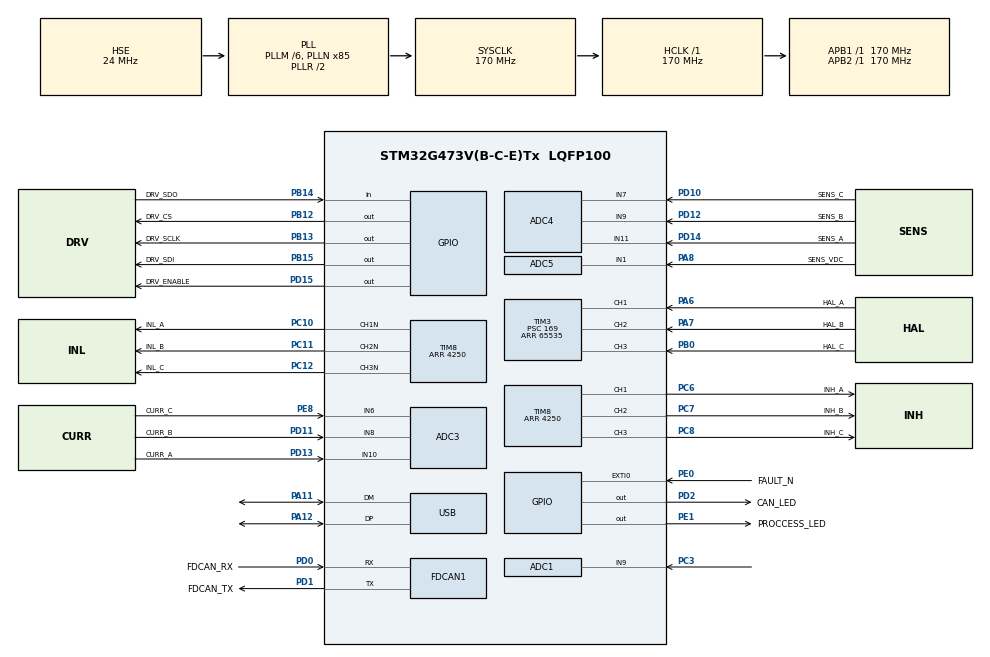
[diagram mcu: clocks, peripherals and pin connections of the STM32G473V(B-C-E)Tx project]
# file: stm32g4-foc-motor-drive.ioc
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ADC1.Channel-0\#ChannelRegularConversion=ADC_CHANNEL_9
ADC1.NbrOfConversionFlag=1
ADC1.OffsetNumber-0\#ChannelRegularConversion=ADC_OFFSET_NONE
ADC1.Rank-0\#ChannelRegularConversion=1
ADC1.SamplingTime-0\#ChannelRegularConversion=ADC_SAMPLETIME_47CYCLES_5
ADC1.master=1
ADC3.Channel-6\#ChannelRegularConversion=ADC_CHANNEL_10
ADC3.Channel-7\#ChannelRegularConversion=ADC_CHANNEL_8
ADC3.Channel-8\#ChannelRegularConversion=ADC_CHANNEL_6
ADC3.EOCSelection=ADC_EOC_SEQ_CONV
ADC3.EnableInjectedConversion=ENABLE
ADC3.EnableInjectedOversampling=DISABLE
ADC3.EnableRegularConversion=ENABLE
ADC3.ExternalTrigInjecConv=ADC_EXTERNALTRIGINJEC_T8_TRGO2
ADC3.InjNumberOfConversion=3
ADC3.InjectedChannel-3\#ChannelInjectedConversion=ADC_CHANNEL_10
ADC3.InjectedChannel-4\#ChannelInjectedConversion=ADC_CHANNEL_8
ADC3.InjectedChannel-5\#ChannelInjectedConversion=ADC_CHANNEL_6
ADC3.InjectedOffsetNumber-3\#ChannelInjectedConversion=ADC_OFFSET_NONE
ADC3.InjectedOffsetNumber-4\#ChannelInjectedConversion=ADC_OFFSET_NONE
ADC3.InjectedOffsetNumber-5\#ChannelInjectedConversion=ADC_OFFSET_NONE
ADC3.InjectedRank-3\#ChannelInjectedConversion=1
ADC3.InjectedRank-4\#ChannelInjectedConversion=2
ADC3.InjectedRank-5\#ChannelInjectedConversion=3
ADC3.InjectedSamplingTime-3\#ChannelInjectedConversion=ADC_SAMPLETIME_12CYCLES_5
ADC3.InjectedSamplingTime-4\#ChannelInjectedConversion=ADC_SAMPLETIME_12CYCLES_5
ADC3.InjectedSamplingTime-5\#ChannelInjectedConversion=ADC_SAMPLETIME_12CYCLES_5
ADC3.NbrOfConversion=3
ADC3.NbrOfConversionFlag=1
ADC3.OffsetNumber-6\#ChannelRegularConversion=ADC_OFFSET_NONE
ADC3.OffsetNumber-7\#ChannelRegularConversion=ADC_OFFSET_NONE
ADC3.OffsetNumber-8\#ChannelRegularConversion=ADC_OFFSET_NONE
ADC3.OversamplingMode=DISABLE
ADC3.Rank-6\#ChannelRegularConversion=1
ADC3.Rank-7\#ChannelRegularConversion=2
ADC3.Rank-8\#ChannelRegularConversion=3
ADC3.SamplingTime-6\#ChannelRegularConversion=ADC_SAMPLETIME_12CYCLES_5
ADC3.SamplingTime-7\#ChannelRegularConversion=ADC_SAMPLETIME_12CYCLES_5
ADC3.SamplingTime-8\#ChannelRegularConversion=ADC_SAMPLETIME_12CYCLES_5
ADC3.master=1
ADC4.Channel-1\#ChannelRegularConversion=ADC_CHANNEL_11
ADC4.Channel-2\#ChannelRegularConversion=ADC_CHANNEL_9
ADC4.Channel-3\#ChannelRegularConversion=ADC_CHANNEL_7
ADC4.ContinuousConvMode=ENABLE
ADC4.DMAContinuousRequests=ENABLE
ADC4.EOCSelection=ADC_EOC_SEQ_CONV
ADC4.ExternalTrigConv=ADC_EXTERNALTRIG_T8_TRGO2
ADC4.NbrOfConversion=3
ADC4.NbrOfConversionFlag=1
ADC4.OffsetNumber-1\#ChannelRegularConversion=ADC_OFFSET_NONE
ADC4.OffsetNumber-2\#ChannelRegularConversion=ADC_OFFSET_NONE
ADC4.OffsetNumber-3\#ChannelRegularConversion=ADC_OFFSET_NONE
ADC4.Rank-1\#ChannelRegularConversion=1
ADC4.Rank-2\#ChannelRegularConversion=2
ADC4.Rank-3\#ChannelRegularConversion=3
ADC4.SamplingTime-1\#ChannelRegularConversion=ADC_SAMPLETIME_24CYCLES_5
ADC4.SamplingTime-2\#ChannelRegularConversion=ADC_SAMPLETIME_24CYCLES_5
ADC4.SamplingTime-3\#ChannelRegularConversion=ADC_SAMPLETIME_24CYCLES_5
ADC5.Channel-0\#ChannelRegularConversion=ADC_CHANNEL_1
ADC5.Channel-1\#ChannelRegularConversion=ADC_CHANNEL_VREFINT
ADC5.ContinuousConvMode=ENABLE
ADC5.DMAContinuousRequests=ENABLE
ADC5.NbrOfConversion=2
ADC5.NbrOfConversionFlag=1
ADC5.OffsetNumber-0\#ChannelRegularConversion=ADC_OFFSET_NONE
ADC5.OffsetNumber-1\#ChannelRegularConversion=ADC_OFFSET_NONE
ADC5.Rank-0\#ChannelRegularConversion=1
ADC5.Rank-1\#ChannelRegularConversion=2
ADC5.SamplingTime-0\#ChannelRegularConversion=ADC_SAMPLETIME_247CYCLES_5
ADC5.SamplingTime-1\#ChannelRegularConversion=ADC_SAMPLETIME_247CYCLES_5
Dma.ADC3.2.Direction=DMA_PERIPH_TO_MEMORY
Dma.ADC3.2.EventEnable=DISABLE
Dma.ADC3.2.Instance=DMA1_Channel3
Dma.ADC3.2.MemDataAlignment=DMA_MDATAALIGN_HALFWORD
Dma.ADC3.2.MemInc=DMA_MINC_ENABLE
Dma.ADC3.2.Mode=DMA_CIRCULAR
Dma.ADC3.2.PeriphDataAlignment=DMA_PDATAALIGN_HALFWORD
Dma.ADC3.2.PeriphInc=DMA_PINC_DISABLE
Dma.ADC3.2.Polarity=HAL_DMAMUX_REQ_GEN_RISING
Dma.ADC3.2.Priority=DMA_PRIORITY_LOW
Dma.ADC3.2.RequestNumber=1
Dma.ADC3.2.SignalID=NONE
Dma.ADC3.2.SyncEnable=DISABLE
Dma.ADC3.2.SyncPolarity=HAL_DMAMUX_SYNC_NO_EVENT
Dma.ADC3.2.SyncRequestNumber=1
Dma.ADC3.2.SyncSignalID=NONE
Dma.ADC4.0.Direction=DMA_PERIPH_TO_MEMORY
Dma.ADC4.0.EventEnable=DISABLE
Dma.ADC4.0.Instance=DMA1_Channel1
Dma.ADC4.0.MemDataAlignment=DMA_MDATAALIGN_HALFWORD
Dma.ADC4.0.MemInc=DMA_MINC_ENABLE
Dma.ADC4.0.Mode=DMA_CIRCULAR
Dma.ADC4.0.PeriphDataAlignment=DMA_PDATAALIGN_HALFWORD
Dma.ADC4.0.PeriphInc=DMA_PINC_DISABLE
Dma.ADC4.0.Polarity=HAL_DMAMUX_REQ_GEN_RISING
Dma.ADC4.0.Priority=DMA_PRIORITY_LOW
Dma.ADC4.0.RequestNumber=1
Dma.ADC4.0.SignalID=NONE
Dma.ADC4.0.SyncEnable=DISABLE
Dma.ADC4.0.SyncPolarity=HAL_DMAMUX_SYNC_NO_EVENT
Dma.ADC4.0.SyncRequestNumber=1
Dma.ADC4.0.SyncSignalID=NONE
Dma.ADC5.1.Direction=DMA_PERIPH_TO_MEMORY
Dma.ADC5.1.EventEnable=DISABLE
Dma.ADC5.1.Instance=DMA1_Channel2
Dma.ADC5.1.MemDataAlignment=DMA_MDATAALIGN_HALFWORD
Dma.ADC5.1.MemInc=DMA_MINC_ENABLE
Dma.ADC5.1.Mode=DMA_CIRCULAR
Dma.ADC5.1.PeriphDataAlignment=DMA_PDATAALIGN_HALFWORD
Dma.ADC5.1.PeriphInc=DMA_PINC_DISABLE
Dma.ADC5.1.Polarity=HAL_DMAMUX_REQ_GEN_RISING
Dma.ADC5.1.Priority=DMA_PRIORITY_MEDIUM
Dma.ADC5.1.RequestNumber=1
Dma.ADC5.1.SignalID=NONE
Dma.ADC5.1.SyncEnable=DISABLE
Dma.ADC5.1.SyncPolarity=HAL_DMAMUX_SYNC_NO_EVENT
Dma.ADC5.1.SyncRequestNumber=1
Dma.ADC5.1.SyncSignalID=NONE
Dma.Request0=ADC4
Dma.Request1=ADC5
Dma.Request2=ADC3
FDCAN1.AutoRetransmission=ENABLE
FDCAN1.CalculateBaudRateNominal=500000
FDCAN1.CalculateTimeBitNominal=2000
FDCAN1.CalculateTimeQuantumNominal=100.0
FDCAN1.NominalPrescaler=17
FDCAN1.NominalSyncJumpWidth=3
FDCAN1.NominalTimeSeg1=16
FDCAN1.NominalTimeSeg2=3
FDCAN1.ProtocolException=ENABLE
FREERTOS.MEMORY_ALLOCATION=1
FREERTOS.Tasks01=initTask,3,512,InitTask,As external,NULL,Static,initTaskBuffer,initTaskControlBlock
FREERTOS.configCHECK_FOR_STACK_OVERFLOW=2
FREERTOS.configLIBRARY_MAX_SYSCALL_INTERRUPT_PRIORITY=2
IWDG.Prescaler=IWDG_PRESCALER_32
IWDG.Reload=99
Mcu.Family=STM32G4
Mcu.Name=STM32G473V(B-C-E)Tx
Mcu.Package=LQFP100
NVIC.ADC3_IRQn=true\:1\:0\:true\:false\:true\:false\:true\:true\:true
NVIC.DMA1_Channel1_IRQn=true\:4\:0\:true\:false\:true\:false\:false\:true\:true
NVIC.DMA1_Channel2_IRQn=true\:0\:0\:true\:false\:true\:false\:false\:true\:true
NVIC.DMA1_Channel3_IRQn=true\:0\:0\:true\:false\:true\:false\:false\:true\:true
NVIC.EXTI0_IRQn=true\:0\:0\:true\:false\:true\:false\:true\:true\:true
NVIC.FDCAN1_IT0_IRQn=true\:5\:0\:true\:false\:true\:false\:true\:true\:true
NVIC.PriorityGroup=NVIC_PRIORITYGROUP_4
NVIC.TIM6_DAC_IRQn=true\:15\:0\:false\:false\:true\:false\:false\:true\:true
NVIC.TimeBase=TIM6_DAC_IRQn
NVIC.TimeBaseIP=TIM6
NVIC.USB_HP_IRQn=true\:6\:0\:true\:false\:true\:false\:true\:false\:true
NVIC.USB_LP_IRQn=true\:6\:0\:true\:false\:true\:false\:true\:false\:true
PA11.Mode=Device
PA11.Signal=USB_DM
PA12.Mode=Device
PA12.Signal=USB_DP
PA13.Mode=Serial_Wire
PA13.Signal=SYS_JTMS-SWDIO
PA14.Mode=Serial_Wire
PA14.Signal=SYS_JTCK-SWCLK
PA6.GPIO_Label=HAL_A
PA6.GPIO_PuPd=GPIO_PULLUP
PA6.GPIO_Speed=GPIO_SPEED_FREQ_VERY_HIGH
PA6.Signal=S_TIM3_CH1
PA7.GPIO_Label=HAL_B
PA7.GPIO_PuPd=GPIO_PULLUP
PA7.GPIO_Speed=GPIO_SPEED_FREQ_VERY_HIGH
PA7.Signal=S_TIM3_CH2
PA8.GPIO_Label=SENS_VDC
PA8.Mode=IN1-Single-Ended
PA8.Signal=ADC5_IN1
PB0.GPIO_Label=HAL_C
PB0.GPIO_PuPd=GPIO_PULLUP
PB0.GPIO_Speed=GPIO_SPEED_FREQ_VERY_HIGH
PB0.Signal=S_TIM3_CH3
PB12.GPIO_Label=DRV_CS
PB12.PinState=GPIO_PIN_SET
PB12.Signal=GPIO_Output
PB13.GPIO_Label=DRV_SCLK
PB13.Signal=GPIO_Output
PB14.GPIO_Label=DRV_SDO
PB14.GPIO_PuPd=GPIO_PULLUP
PB14.Signal=GPIO_Input
PB15.GPIO_Label=DRV_SDI
PB15.Signal=GPIO_Output
PC10.GPIO_Label=INL_A
PC10.Mode=PWM Generation1 CH1 CH1N
PC10.Signal=TIM8_CH1N
PC11.GPIO_Label=INL_B
PC11.Mode=PWM Generation2 CH2 CH2N
PC11.Signal=TIM8_CH2N
PC12.GPIO_Label=INL_C
PC12.Mode=PWM Generation3 CH3 CH3N
PC12.Signal=TIM8_CH3N
PC3.Mode=IN9-Single-Ended
PC3.Signal=ADC1_IN9
PC6.GPIO_Label=INH_A
PC6.Signal=S_TIM8_CH1
PC7.GPIO_Label=INH_B
PC7.Signal=S_TIM8_CH2
PC8.GPIO_Label=INH_C
PC8.Signal=S_TIM8_CH3
PD0.GPIO_Label=FDCAN_RX
PD0.Mode=FDCAN_Activate
PD0.Signal=FDCAN1_RX
PD1.GPIO_Label=FDCAN_TX
PD1.Mode=FDCAN_Activate
PD1.Signal=FDCAN1_TX
PD10.GPIO_Label=SENS_C
PD10.Mode=IN7-Single-Ended
PD10.Signal=ADC4_IN7
PD11.GPIO_Label=CURR_B
PD11.Mode=IN8-Single-Ended
PD11.Signal=ADC3_IN8
PD12.GPIO_Label=SENS_B
PD12.Mode=IN9-Single-Ended
PD12.Signal=ADC4_IN9
PD13.GPIO_Label=CURR_A
PD13.Mode=IN10-Single-Ended
PD13.Signal=ADC3_IN10
PD14.GPIO_Label=SENS_A
PD14.Mode=IN11-Single-Ended
PD14.Signal=ADC4_IN11
PD15.GPIO_Label=DRV_ENABLE
PD15.Signal=GPIO_Output
PD2.GPIO_Label=CAN_LED
PD2.PinState=GPIO_PIN_SET
PD2.Signal=GPIO_Output
PE0.GPIO_Label=FAULT_N
PE0.GPIO_ModeDefaultEXTI=GPIO_MODE_IT_FALLING
PE0.GPIO_PuPd=GPIO_PULLUP
PE0.Signal=GPXTI0
PE1.GPIO_Label=PROCCESS_LED
PE1.Signal=GPIO_Output
PE8.GPIO_Label=CURR_C
PE8.Mode=IN6-Single-Ended
PE8.Signal=ADC3_IN6
PF0-OSC_IN.Mode=HSE-External-Oscillator
PF0-OSC_IN.Signal=RCC_OSC_IN
PF1-OSC_OUT.Mode=HSE-External-Oscillator
PF1-OSC_OUT.Signal=RCC_OSC_OUT
ProjectManager.HeapSize=0x200
ProjectManager.StackSize=0x400
ProjectManager.TargetToolchain=CMake
RCC.ADC12Freq_Value=170000000
RCC.ADC345Freq_Value=170000000
RCC.AHBFreq_Value=170000000
RCC.APB1Freq_Value=170000000
RCC.APB1TimFreq_Value=170000000
RCC.APB2Freq_Value=170000000
RCC.APB2TimFreq_Value=170000000
RCC.CK48CLockSelection=RCC_USBCLKSOURCE_HSI48
RCC.CortexFreq_Value=170000000
RCC.EXTERNAL_CLOCK_VALUE=12288000
RCC.HCLKFreq_Value=170000000
RCC.HSE_VALUE=24000000
RCC.HSI48_VALUE=48000000
RCC.HSI_VALUE=16000000
RCC.LSE_VALUE=32768
RCC.PLLM=RCC_PLLM_DIV6
RCC.PLLN=85
RCC.PLLSourceVirtual=RCC_PLLSOURCE_HSE
RCC.SYSCLKFreq_VALUE=170000000
RCC.SYSCLKSource=RCC_SYSCLKSOURCE_PLLCLK
RCC.USBFreq_Value=48000000
RCC.VCOOutputFreq_Value=340000000
SH.S_TIM3_CH1.0=TIM3_CH1,Xored_Inputs_Hall_Sensor_Interface
SH.S_TIM3_CH2.0=TIM3_CH2,Xored_Inputs_Hall_Sensor_Interface
SH.S_TIM3_CH3.0=TIM3_CH3,Xored_Inputs_Hall_Sensor_Interface
SH.S_TIM8_CH1.0=TIM8_CH1,PWM Generation1 CH1 CH1N
SH.S_TIM8_CH2.0=TIM8_CH2,PWM Generation2 CH2 CH2N
SH.S_TIM8_CH3.0=TIM8_CH3,PWM Generation3 CH3 CH3N
TIM3.ClockDivision=TIM_CLOCKDIVISION_DIV1
TIM3.IC1Filter=15
TIM3.PeriodNoDither=65535
TIM3.Prescaler=169
TIM8.Channel-PWM\ Generation1\ CH1\ CH1N=TIM_CHANNEL_1
TIM8.Channel-PWM\ Generation2\ CH2\ CH2N=TIM_CHANNEL_2
TIM8.Channel-PWM\ Generation3\ CH3\ CH3N=TIM_CHANNEL_3
TIM8.Channel-PWM\ Generation4\ No\ Output=TIM_CHANNEL_4
TIM8.CounterMode=TIM_COUNTERMODE_CENTERALIGNED1
TIM8.OCMode_PWM-PWM\ Generation1\ CH1\ CH1N=TIM_OCMODE_PWM1
TIM8.OCMode_PWM-PWM\ Generation2\ CH2\ CH2N=TIM_OCMODE_PWM1
TIM8.OCMode_PWM-PWM\ Generation3\ CH3\ CH3N=TIM_OCMODE_PWM1
TIM8.OCMode_PWM-PWM\ Generation4\ No\ Output=TIM_OCMODE_PWM2
TIM8.PeriodNoDither=4250
TIM8.PulseNoDither_4=4136
TIM8.TIM_MasterOutputTrigger2=TIM_TRGO2_OC4REF
VP_ADC5_Vref_Input.Mode=IN-Vrefint
VP_CORDIC_VS_CORDIC.Mode=CORDIC_Activate
VP_FREERTOS_VS_CMSIS_V1.Mode=CMSIS_V1
VP_IWDG_VS_IWDG.Mode=IWDG_Activate
VP_RCC_VS_USB.Mode=USB_FS
VP_SYS_VS_DBSignals.Mode=DisableDeadBatterySignals
VP_SYS_VS_tim6.Mode=TIM6
VP_TIM3_VS_ClockSourceINT.Mode=Internal
VP_TIM8_VS_ClockSourceINT.Mode=Internal
VP_TIM8_VS_no_output4.Mode=PWM Generation4 No Output
board=custom

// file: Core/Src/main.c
/* USER CODE BEGIN Header */
/**
  ******************************************************************************
  * @file           : main.c
  * @brief          : Main program body
  ******************************************************************************
  * @attention
  *
  * Copyright (c) 2026 STMicroelectronics.
  * All rights reserved.
  *
  * This software is licensed under terms that can be found in the LICENSE file
  * in the root directory of this software component.
  * If no LICENSE file comes with this software, it is provided AS-IS.
  *
  ******************************************************************************
  */
/* USER CODE END Header */
#include "main.h"
#include "cmsis_os.h"

ADC_HandleTypeDef hadc1;
ADC_HandleTypeDef hadc3;
ADC_HandleTypeDef hadc4;
ADC_HandleTypeDef hadc5;
DMA_HandleTypeDef hdma_adc3;
DMA_HandleTypeDef hdma_adc4;
DMA_HandleTypeDef hdma_adc5;

CORDIC_HandleTypeDef hcordic;

FDCAN_HandleTypeDef hfdcan1;

IWDG_HandleTypeDef hiwdg;

TIM_HandleTypeDef htim3;
TIM_HandleTypeDef htim8;

PCD_HandleTypeDef hpcd_USB_FS;

osThreadId initTaskHandle;
uint32_t initTaskBuffer[ 512 ];
osStaticThreadDef_t initTaskControlBlock;

void SystemClock_Config(void);
static void MX_GPIO_Init(void);
static void MX_DMA_Init(void);
static void MX_ADC3_Init(void);
static void MX_ADC4_Init(void);
static void MX_ADC5_Init(void);
static void MX_TIM8_Init(void);
static void MX_TIM3_Init(void);
static void MX_CORDIC_Init(void);
static void MX_ADC1_Init(void);
extern void InitTask(void const * argument);

int main(void)
{

  /* MCU Configuration--------------------------------------------------------*/

  /* Reset of all peripherals, Initializes the Flash interface and the Systick. */
  HAL_Init();

  /* Configure the system clock */
  SystemClock_Config();

  /* Initialize all configured peripherals */
  MX_GPIO_Init();
  MX_DMA_Init();
  MX_ADC3_Init();
  MX_ADC4_Init();
  MX_ADC5_Init();
  MX_FDCAN1_Init();
  MX_TIM8_Init();
  MX_TIM3_Init();
  MX_CORDIC_Init();
  MX_ADC1_Init();

  /* Create the thread(s) */
  /* definition and creation of initTask */
  osThreadStaticDef(initTask, InitTask, osPriorityRealtime, 0, 512, initTaskBuffer, &initTaskControlBlock);
  initTaskHandle = osThreadCreate(osThread(initTask), NULL);

  /* Start scheduler */
  osKernelStart();

  /* We should never get here as control is now taken by the scheduler */

  /* Infinite loop */
  while (1)
  {

  }
}

void SystemClock_Config(void)
{
  RCC_OscInitTypeDef RCC_OscInitStruct = {0};
  RCC_ClkInitTypeDef RCC_ClkInitStruct = {0};
  RCC_CRSInitTypeDef pInit = {0};

  /** Configure the main internal regulator output voltage
  */
  HAL_PWREx_ControlVoltageScaling(PWR_REGULATOR_VOLTAGE_SCALE1_BOOST);

  /** Initializes the RCC Oscillators according to the specified parameters
  * in the RCC_OscInitTypeDef structure.
  */
  RCC_OscInitStruct.OscillatorType = RCC_OSCILLATORTYPE_HSI48|RCC_OSCILLATORTYPE_LSI
                              |RCC_OSCILLATORTYPE_HSE;
  RCC_OscInitStruct.HSEState = RCC_HSE_ON;
  RCC_OscInitStruct.LSIState = RCC_LSI_ON;
  RCC_OscInitStruct.HSI48State = RCC_HSI48_ON;
  RCC_OscInitStruct.PLL.PLLState = RCC_PLL_ON;
  RCC_OscInitStruct.PLL.PLLSource = RCC_PLLSOURCE_HSE;
  RCC_OscInitStruct.PLL.PLLM = RCC_PLLM_DIV6;
  RCC_OscInitStruct.PLL.PLLN = 85;
  RCC_OscInitStruct.PLL.PLLP = RCC_PLLP_DIV2;
  RCC_OscInitStruct.PLL.PLLQ = RCC_PLLQ_DIV2;
  RCC_OscInitStruct.PLL.PLLR = RCC_PLLR_DIV2;
  if (HAL_RCC_OscConfig(&RCC_OscInitStruct) != HAL_OK)
  {
    Error_Handler();
  }

  /** Initializes the CPU, AHB and APB buses clocks
  */
  RCC_ClkInitStruct.ClockType = RCC_CLOCKTYPE_HCLK|RCC_CLOCKTYPE_SYSCLK
                              |RCC_CLOCKTYPE_PCLK1|RCC_CLOCKTYPE_PCLK2;
  RCC_ClkInitStruct.SYSCLKSource = RCC_SYSCLKSOURCE_PLLCLK;
  RCC_ClkInitStruct.AHBCLKDivider = RCC_SYSCLK_DIV1;
  RCC_ClkInitStruct.APB1CLKDivider = RCC_HCLK_DIV1;
  RCC_ClkInitStruct.APB2CLKDivider = RCC_HCLK_DIV1;

  if (HAL_RCC_ClockConfig(&RCC_ClkInitStruct, FLASH_LATENCY_4) != HAL_OK)
  {
    Error_Handler();
  }

  /** Enable the SYSCFG APB clock
  */
  __HAL_RCC_CRS_CLK_ENABLE();

  /** Configures CRS
  */
  pInit.Prescaler = RCC_CRS_SYNC_DIV1;
  pInit.Source = RCC_CRS_SYNC_SOURCE_USB;
  pInit.Polarity = RCC_CRS_SYNC_POLARITY_RISING;
  pInit.ReloadValue = __HAL_RCC_CRS_RELOADVALUE_CALCULATE(48000000,1000);
  pInit.ErrorLimitValue = 34;
  pInit.HSI48CalibrationValue = 32;

  HAL_RCCEx_CRSConfig(&pInit);
}

static void MX_ADC1_Init(void)
{

  ADC_MultiModeTypeDef multimode = {0};
  ADC_ChannelConfTypeDef sConfig = {0};

  /** Common config
  */
  hadc1.Instance = ADC1;
  hadc1.Init.ClockPrescaler = ADC_CLOCK_SYNC_PCLK_DIV4;
  hadc1.Init.Resolution = ADC_RESOLUTION_12B;
  hadc1.Init.DataAlign = ADC_DATAALIGN_RIGHT;
  hadc1.Init.GainCompensation = 0;
  hadc1.Init.ScanConvMode = ADC_SCAN_DISABLE;
  hadc1.Init.EOCSelection = ADC_EOC_SINGLE_CONV;
  hadc1.Init.LowPowerAutoWait = DISABLE;
  hadc1.Init.ContinuousConvMode = DISABLE;
  hadc1.Init.NbrOfConversion = 1;
  hadc1.Init.DiscontinuousConvMode = DISABLE;
  hadc1.Init.ExternalTrigConv = ADC_SOFTWARE_START;
  hadc1.Init.ExternalTrigConvEdge = ADC_EXTERNALTRIGCONVEDGE_NONE;
  hadc1.Init.DMAContinuousRequests = DISABLE;
  hadc1.Init.Overrun = ADC_OVR_DATA_PRESERVED;
  hadc1.Init.OversamplingMode = DISABLE;
  if (HAL_ADC_Init(&hadc1) != HAL_OK)
  {
    Error_Handler();
  }

  /** Configure the ADC multi-mode
  */
  multimode.Mode = ADC_MODE_INDEPENDENT;
  if (HAL_ADCEx_MultiModeConfigChannel(&hadc1, &multimode) != HAL_OK)
  {
    Error_Handler();
  }

  /** Configure Regular Channel
  */
  sConfig.Channel = ADC_CHANNEL_9;
  sConfig.Rank = ADC_REGULAR_RANK_1;
  sConfig.SamplingTime = ADC_SAMPLETIME_47CYCLES_5;
  sConfig.SingleDiff = ADC_SINGLE_ENDED;
  sConfig.OffsetNumber = ADC_OFFSET_NONE;
  sConfig.Offset = 0;
  if (HAL_ADC_ConfigChannel(&hadc1, &sConfig) != HAL_OK)
  {
    Error_Handler();
  }

}

static void MX_ADC3_Init(void)
{

  ADC_MultiModeTypeDef multimode = {0};
  ADC_InjectionConfTypeDef sConfigInjected = {0};
  ADC_ChannelConfTypeDef sConfig = {0};

  /** Common config
  */
  hadc3.Instance = ADC3;
  hadc3.Init.ClockPrescaler = ADC_CLOCK_SYNC_PCLK_DIV4;
  hadc3.Init.Resolution = ADC_RESOLUTION_12B;
  hadc3.Init.DataAlign = ADC_DATAALIGN_RIGHT;
  hadc3.Init.GainCompensation = 0;
  hadc3.Init.ScanConvMode = ADC_SCAN_ENABLE;
  hadc3.Init.EOCSelection = ADC_EOC_SEQ_CONV;
  hadc3.Init.LowPowerAutoWait = DISABLE;
  hadc3.Init.ContinuousConvMode = DISABLE;
  hadc3.Init.NbrOfConversion = 3;
  hadc3.Init.DiscontinuousConvMode = DISABLE;
  hadc3.Init.ExternalTrigConv = ADC_SOFTWARE_START;
  hadc3.Init.ExternalTrigConvEdge = ADC_EXTERNALTRIGCONVEDGE_NONE;
  hadc3.Init.DMAContinuousRequests = DISABLE;
  hadc3.Init.Overrun = ADC_OVR_DATA_PRESERVED;
  hadc3.Init.OversamplingMode = DISABLE;
  if (HAL_ADC_Init(&hadc3) != HAL_OK)
  {
    Error_Handler();
  }

  /** Configure the ADC multi-mode
  */
  multimode.Mode = ADC_MODE_INDEPENDENT;
  if (HAL_ADCEx_MultiModeConfigChannel(&hadc3, &multimode) != HAL_OK)
  {
    Error_Handler();
  }

  /** Configure Injected Channel
  */
  sConfigInjected.InjectedChannel = ADC_CHANNEL_10;
  sConfigInjected.InjectedRank = ADC_INJECTED_RANK_1;
  sConfigInjected.InjectedSamplingTime = ADC_SAMPLETIME_12CYCLES_5;
  sConfigInjected.InjectedSingleDiff = ADC_SINGLE_ENDED;
  sConfigInjected.InjectedOffsetNumber = ADC_OFFSET_NONE;
  sConfigInjected.InjectedOffset = 0;
  sConfigInjected.InjectedNbrOfConversion = 3;
  sConfigInjected.InjectedDiscontinuousConvMode = DISABLE;
  sConfigInjected.AutoInjectedConv = DISABLE;
  sConfigInjected.QueueInjectedContext = DISABLE;
  sConfigInjected.ExternalTrigInjecConv = ADC_EXTERNALTRIGINJEC_T8_TRGO2;
  sConfigInjected.ExternalTrigInjecConvEdge = ADC_EXTERNALTRIGINJECCONV_EDGE_RISING;
  sConfigInjected.InjecOversamplingMode = DISABLE;
  if (HAL_ADCEx_InjectedConfigChannel(&hadc3, &sConfigInjected) != HAL_OK)
  {
    Error_Handler();
  }

  /** Configure Injected Channel
  */
  sConfigInjected.InjectedChannel = ADC_CHANNEL_8;
  sConfigInjected.InjectedRank = ADC_INJECTED_RANK_2;
  if (HAL_ADCEx_InjectedConfigChannel(&hadc3, &sConfigInjected) != HAL_OK)
  {
    Error_Handler();
  }

  /** Configure Injected Channel
  */
  sConfigInjected.InjectedChannel = ADC_CHANNEL_6;
  sConfigInjected.InjectedRank = ADC_INJECTED_RANK_3;
  if (HAL_ADCEx_InjectedConfigChannel(&hadc3, &sConfigInjected) != HAL_OK)
  {
    Error_Handler();
  }

  /** Configure Regular Channel
  */
  sConfig.Channel = ADC_CHANNEL_10;
  sConfig.Rank = ADC_REGULAR_RANK_1;
  sConfig.SamplingTime = ADC_SAMPLETIME_12CYCLES_5;
  sConfig.SingleDiff = ADC_SINGLE_ENDED;
  sConfig.OffsetNumber = ADC_OFFSET_NONE;
  sConfig.Offset = 0;
  if (HAL_ADC_ConfigChannel(&hadc3, &sConfig) != HAL_OK)
  {
    Error_Handler();
  }

  /** Configure Regular Channel
  */
  sConfig.Channel = ADC_CHANNEL_8;
  sConfig.Rank = ADC_REGULAR_RANK_2;
  if (HAL_ADC_ConfigChannel(&hadc3, &sConfig) != HAL_OK)
  {
    Error_Handler();
  }

  /** Configure Regular Channel
  */
  sConfig.Channel = ADC_CHANNEL_6;
  sConfig.Rank = ADC_REGULAR_RANK_3;
  if (HAL_ADC_ConfigChannel(&hadc3, &sConfig) != HAL_OK)
  {
    Error_Handler();
  }

}

static void MX_ADC4_Init(void)
{

  ADC_ChannelConfTypeDef sConfig = {0};

  /** Common config
  */
  hadc4.Instance = ADC4;
  hadc4.Init.ClockPrescaler = ADC_CLOCK_SYNC_PCLK_DIV4;
  hadc4.Init.Resolution = ADC_RESOLUTION_12B;
  hadc4.Init.DataAlign = ADC_DATAALIGN_RIGHT;
  hadc4.Init.GainCompensation = 0;
  hadc4.Init.ScanConvMode = ADC_SCAN_ENABLE;
  hadc4.Init.EOCSelection = ADC_EOC_SEQ_CONV;
  hadc4.Init.LowPowerAutoWait = DISABLE;
  hadc4.Init.ContinuousConvMode = ENABLE;
  hadc4.Init.NbrOfConversion = 3;
  hadc4.Init.DiscontinuousConvMode = DISABLE;
  hadc4.Init.ExternalTrigConv = ADC_EXTERNALTRIG_T8_TRGO2;
  hadc4.Init.ExternalTrigConvEdge = ADC_EXTERNALTRIGCONVEDGE_RISING;
  hadc4.Init.DMAContinuousRequests = ENABLE;
  hadc4.Init.Overrun = ADC_OVR_DATA_PRESERVED;
  hadc4.Init.OversamplingMode = DISABLE;
  if (HAL_ADC_Init(&hadc4) != HAL_OK)
  {
    Error_Handler();
  }

  /** Configure Regular Channel
  */
  sConfig.Channel = ADC_CHANNEL_11;
  sConfig.Rank = ADC_REGULAR_RANK_1;
  sConfig.SamplingTime = ADC_SAMPLETIME_24CYCLES_5;
  sConfig.SingleDiff = ADC_SINGLE_ENDED;
  sConfig.OffsetNumber = ADC_OFFSET_NONE;
  sConfig.Offset = 0;
  if (HAL_ADC_ConfigChannel(&hadc4, &sConfig) != HAL_OK)
  {
    Error_Handler();
  }

  /** Configure Regular Channel
  */
  sConfig.Channel = ADC_CHANNEL_9;
  sConfig.Rank = ADC_REGULAR_RANK_2;
  if (HAL_ADC_ConfigChannel(&hadc4, &sConfig) != HAL_OK)
  {
    Error_Handler();
  }

  /** Configure Regular Channel
  */
  sConfig.Channel = ADC_CHANNEL_7;
  sConfig.Rank = ADC_REGULAR_RANK_3;
  if (HAL_ADC_ConfigChannel(&hadc4, &sConfig) != HAL_OK)
  {
    Error_Handler();
  }

}

static void MX_ADC5_Init(void)
{

  ADC_ChannelConfTypeDef sConfig = {0};

  /** Common config
  */
  hadc5.Instance = ADC5;
  hadc5.Init.ClockPrescaler = ADC_CLOCK_SYNC_PCLK_DIV4;
  hadc5.Init.Resolution = ADC_RESOLUTION_12B;
  hadc5.Init.DataAlign = ADC_DATAALIGN_RIGHT;
  hadc5.Init.GainCompensation = 0;
  hadc5.Init.ScanConvMode = ADC_SCAN_ENABLE;
  hadc5.Init.EOCSelection = ADC_EOC_SINGLE_CONV;
  hadc5.Init.LowPowerAutoWait = DISABLE;
  hadc5.Init.ContinuousConvMode = ENABLE;
  hadc5.Init.NbrOfConversion = 2;
  hadc5.Init.DiscontinuousConvMode = DISABLE;
  hadc5.Init.ExternalTrigConv = ADC_SOFTWARE_START;
  hadc5.Init.ExternalTrigConvEdge = ADC_EXTERNALTRIGCONVEDGE_NONE;
  hadc5.Init.DMAContinuousRequests = ENABLE;
  hadc5.Init.Overrun = ADC_OVR_DATA_PRESERVED;
  hadc5.Init.OversamplingMode = DISABLE;
  if (HAL_ADC_Init(&hadc5) != HAL_OK)
  {
    Error_Handler();
  }

  /** Configure Regular Channel
  */
  sConfig.Channel = ADC_CHANNEL_1;
  sConfig.Rank = ADC_REGULAR_RANK_1;
  sConfig.SamplingTime = ADC_SAMPLETIME_247CYCLES_5;
  sConfig.SingleDiff = ADC_SINGLE_ENDED;
  sConfig.OffsetNumber = ADC_OFFSET_NONE;
  sConfig.Offset = 0;
  if (HAL_ADC_ConfigChannel(&hadc5, &sConfig) != HAL_OK)
  {
    Error_Handler();
  }

  /** Configure Regular Channel
  */
  sConfig.Channel = ADC_CHANNEL_VREFINT;
  sConfig.Rank = ADC_REGULAR_RANK_2;
  if (HAL_ADC_ConfigChannel(&hadc5, &sConfig) != HAL_OK)
  {
    Error_Handler();
  }

}

static void MX_CORDIC_Init(void)
{

  hcordic.Instance = CORDIC;
  if (HAL_CORDIC_Init(&hcordic) != HAL_OK)
  {
    Error_Handler();
  }
  /* USER CODE BEGIN CORDIC_Init 2 */

  CORDIC_ConfigTypeDef sCordicConfig =
  {
      .Function  = CORDIC_FUNCTION_SINE,      // [0]: sin // [1]: cos
      .Scale     = CORDIC_SCALE_0,
      .InSize    = CORDIC_INSIZE_32BITS,      // q1.31
      .OutSize   = CORDIC_OUTSIZE_32BITS,
      .NbWrite   = CORDIC_NBWRITE_1,
      .NbRead    = CORDIC_NBREAD_2,
      .Precision = CORDIC_PRECISION_6CYCLES,
  };

  if (HAL_CORDIC_Configure(&hcordic, &sCordicConfig) != HAL_OK)
  {
    Error_Handler();
  }

  /* USER CODE END CORDIC_Init 2 */

}

void MX_FDCAN1_Init(void)
{

  hfdcan1.Instance = FDCAN1;
  hfdcan1.Init.ClockDivider = FDCAN_CLOCK_DIV1;
  hfdcan1.Init.FrameFormat = FDCAN_FRAME_CLASSIC;
  hfdcan1.Init.Mode = FDCAN_MODE_NORMAL;
  hfdcan1.Init.AutoRetransmission = ENABLE;
  hfdcan1.Init.TransmitPause = DISABLE;
  hfdcan1.Init.ProtocolException = ENABLE;
  hfdcan1.Init.NominalPrescaler = 17;
  hfdcan1.Init.NominalSyncJumpWidth = 3;
  hfdcan1.Init.NominalTimeSeg1 = 16;
  hfdcan1.Init.NominalTimeSeg2 = 3;
  hfdcan1.Init.DataPrescaler = 1;
  hfdcan1.Init.DataSyncJumpWidth = 1;
  hfdcan1.Init.DataTimeSeg1 = 1;
  hfdcan1.Init.DataTimeSeg2 = 1;
  hfdcan1.Init.StdFiltersNbr = 0;
  hfdcan1.Init.ExtFiltersNbr = 0;
  hfdcan1.Init.TxFifoQueueMode = FDCAN_TX_FIFO_OPERATION;
  if (HAL_FDCAN_Init(&hfdcan1) != HAL_OK)
  {
    Error_Handler();
  }

}

void MX_IWDG_Init(void)
{

  hiwdg.Instance = IWDG;
  hiwdg.Init.Prescaler = IWDG_PRESCALER_32;
  hiwdg.Init.Window = 4095;
  hiwdg.Init.Reload = 99;
  if (HAL_IWDG_Init(&hiwdg) != HAL_OK)
  {
    Error_Handler();
  }

}

static void MX_TIM3_Init(void)
{

  TIM_ClockConfigTypeDef sClockSourceConfig = {0};
  TIM_HallSensor_InitTypeDef sConfig = {0};
  TIM_MasterConfigTypeDef sMasterConfig = {0};

  htim3.Instance = TIM3;
  htim3.Init.Prescaler = 169;
  htim3.Init.CounterMode = TIM_COUNTERMODE_UP;
  htim3.Init.Period = 65535;
  htim3.Init.ClockDivision = TIM_CLOCKDIVISION_DIV1;
  htim3.Init.AutoReloadPreload = TIM_AUTORELOAD_PRELOAD_DISABLE;
  if (HAL_TIM_Base_Init(&htim3) != HAL_OK)
  {
    Error_Handler();
  }
  sClockSourceConfig.ClockSource = TIM_CLOCKSOURCE_INTERNAL;
  if (HAL_TIM_ConfigClockSource(&htim3, &sClockSourceConfig) != HAL_OK)
  {
    Error_Handler();
  }
  sConfig.IC1Polarity = TIM_ICPOLARITY_RISING;
  sConfig.IC1Prescaler = TIM_ICPSC_DIV1;
  sConfig.IC1Filter = 15;
  sConfig.Commutation_Delay = 0;
  if (HAL_TIMEx_HallSensor_Init(&htim3, &sConfig) != HAL_OK)
  {
    Error_Handler();
  }
  sMasterConfig.MasterOutputTrigger = TIM_TRGO_OC2REF;
  sMasterConfig.MasterSlaveMode = TIM_MASTERSLAVEMODE_DISABLE;
  if (HAL_TIMEx_MasterConfigSynchronization(&htim3, &sMasterConfig) != HAL_OK)
  {
    Error_Handler();
  }

}

static void MX_TIM8_Init(void)
{

  TIM_ClockConfigTypeDef sClockSourceConfig = {0};
  TIM_MasterConfigTypeDef sMasterConfig = {0};
  TIM_OC_InitTypeDef sConfigOC = {0};
  TIM_BreakDeadTimeConfigTypeDef sBreakDeadTimeConfig = {0};

  htim8.Instance = TIM8;
  htim8.Init.Prescaler = 0;
  htim8.Init.CounterMode = TIM_COUNTERMODE_CENTERALIGNED1;
  htim8.Init.Period = 4250;
  htim8.Init.ClockDivision = TIM_CLOCKDIVISION_DIV1;
  htim8.Init.RepetitionCounter = 0;
  htim8.Init.AutoReloadPreload = TIM_AUTORELOAD_PRELOAD_DISABLE;
  if (HAL_TIM_Base_Init(&htim8) != HAL_OK)
  {
    Error_Handler();
  }
  sClockSourceConfig.ClockSource = TIM_CLOCKSOURCE_INTERNAL;
  if (HAL_TIM_ConfigClockSource(&htim8, &sClockSourceConfig) != HAL_OK)
  {
    Error_Handler();
  }
  if (HAL_TIM_PWM_Init(&htim8) != HAL_OK)
  {
    Error_Handler();
  }
  sMasterConfig.MasterOutputTrigger = TIM_TRGO_RESET;
  sMasterConfig.MasterOutputTrigger2 = TIM_TRGO2_OC4REF;
  sMasterConfig.MasterSlaveMode = TIM_MASTERSLAVEMODE_DISABLE;
  if (HAL_TIMEx_MasterConfigSynchronization(&htim8, &sMasterConfig) != HAL_OK)
  {
    Error_Handler();
  }
  sConfigOC.OCMode = TIM_OCMODE_PWM1;
  sConfigOC.Pulse = 0;
  sConfigOC.OCPolarity = TIM_OCPOLARITY_HIGH;
  sConfigOC.OCNPolarity = TIM_OCNPOLARITY_HIGH;
  sConfigOC.OCFastMode = TIM_OCFAST_DISABLE;
  sConfigOC.OCIdleState = TIM_OCIDLESTATE_RESET;
  sConfigOC.OCNIdleState = TIM_OCNIDLESTATE_RESET;
  if (HAL_TIM_PWM_ConfigChannel(&htim8, &sConfigOC, TIM_CHANNEL_1) != HAL_OK)
  {
    Error_Handler();
  }
  if (HAL_TIM_PWM_ConfigChannel(&htim8, &sConfigOC, TIM_CHANNEL_2) != HAL_OK)
  {
    Error_Handler();
  }
  if (HAL_TIM_PWM_ConfigChannel(&htim8, &sConfigOC, TIM_CHANNEL_3) != HAL_OK)
  {
    Error_Handler();
  }
  sConfigOC.OCMode = TIM_OCMODE_PWM2;
  sConfigOC.Pulse = 4136;
  if (HAL_TIM_PWM_ConfigChannel(&htim8, &sConfigOC, TIM_CHANNEL_4) != HAL_OK)
  {
    Error_Handler();
  }
  sBreakDeadTimeConfig.OffStateRunMode = TIM_OSSR_DISABLE;
  sBreakDeadTimeConfig.OffStateIDLEMode = TIM_OSSI_DISABLE;
  sBreakDeadTimeConfig.LockLevel = TIM_LOCKLEVEL_OFF;
  sBreakDeadTimeConfig.DeadTime = 0;
  sBreakDeadTimeConfig.BreakState = TIM_BREAK_DISABLE;
  sBreakDeadTimeConfig.BreakPolarity = TIM_BREAKPOLARITY_HIGH;
  sBreakDeadTimeConfig.BreakFilter = 0;
  sBreakDeadTimeConfig.BreakAFMode = TIM_BREAK_AFMODE_INPUT;
  sBreakDeadTimeConfig.Break2State = TIM_BREAK2_DISABLE;
  sBreakDeadTimeConfig.Break2Polarity = TIM_BREAK2POLARITY_HIGH;
  sBreakDeadTimeConfig.Break2Filter = 0;
  sBreakDeadTimeConfig.Break2AFMode = TIM_BREAK_AFMODE_INPUT;
  sBreakDeadTimeConfig.AutomaticOutput = TIM_AUTOMATICOUTPUT_DISABLE;
  if (HAL_TIMEx_ConfigBreakDeadTime(&htim8, &sBreakDeadTimeConfig) != HAL_OK)
  {
    Error_Handler();
  }
  HAL_TIM_MspPostInit(&htim8);

}

void MX_USB_PCD_Init(void)
{

  hpcd_USB_FS.Instance = USB;
  hpcd_USB_FS.Init.dev_endpoints = 8;
  hpcd_USB_FS.Init.speed = PCD_SPEED_FULL;
  hpcd_USB_FS.Init.phy_itface = PCD_PHY_EMBEDDED;
  hpcd_USB_FS.Init.Sof_enable = DISABLE;
  hpcd_USB_FS.Init.low_power_enable = DISABLE;
  hpcd_USB_FS.Init.lpm_enable = DISABLE;
  hpcd_USB_FS.Init.battery_charging_enable = DISABLE;
  if (HAL_PCD_Init(&hpcd_USB_FS) != HAL_OK)
  {
    Error_Handler();
  }
  /* USER CODE BEGIN USB_Init 2 */
//  HAL_PCDEx_PMAConfig(&hpcd_USB_DRD_FS, 0x00, PCD_SNG_BUF, 0x40);   // EP0 OUT  (64 B)
//  HAL_PCDEx_PMAConfig(&hpcd_USB_DRD_FS, 0x80, PCD_SNG_BUF, 0x80);   // EP0 IN   (64 B)
//  HAL_PCDEx_PMAConfig(&hpcd_USB_DRD_FS, 0x81, PCD_SNG_BUF, 0xC0);   // EP1 IN   CMD (8 B)
//  HAL_PCDEx_PMAConfig(&hpcd_USB_DRD_FS, 0x03, PCD_SNG_BUF, 0x100);  // EP3 OUT  bulk (64 B)
//  HAL_PCDEx_PMAConfig(&hpcd_USB_DRD_FS, 0x82, PCD_SNG_BUF, 0x140);  // EP2 IN   bulk (64 B)
  /* USER CODE END USB_Init 2 */

}

static void MX_DMA_Init(void)
{

  /* DMA controller clock enable */
  __HAL_RCC_DMAMUX1_CLK_ENABLE();
  __HAL_RCC_DMA1_CLK_ENABLE();

  /* DMA interrupt init */
  /* DMA1_Channel1_IRQn interrupt configuration */
  HAL_NVIC_SetPriority(DMA1_Channel1_IRQn, 4, 0);
  HAL_NVIC_EnableIRQ(DMA1_Channel1_IRQn);
  /* DMA1_Channel2_IRQn interrupt configuration */
  HAL_NVIC_SetPriority(DMA1_Channel2_IRQn, 0, 0);
  HAL_NVIC_EnableIRQ(DMA1_Channel2_IRQn);
  /* DMA1_Channel3_IRQn interrupt configuration */
  HAL_NVIC_SetPriority(DMA1_Channel3_IRQn, 0, 0);
  HAL_NVIC_EnableIRQ(DMA1_Channel3_IRQn);

}

static void MX_GPIO_Init(void)
{
  GPIO_InitTypeDef GPIO_InitStruct = {0};

  /* GPIO Ports Clock Enable */
  __HAL_RCC_GPIOF_CLK_ENABLE();
  __HAL_RCC_GPIOC_CLK_ENABLE();
  __HAL_RCC_GPIOA_CLK_ENABLE();
  __HAL_RCC_GPIOB_CLK_ENABLE();
  __HAL_RCC_GPIOE_CLK_ENABLE();
  __HAL_RCC_GPIOD_CLK_ENABLE();

  /*Configure GPIO pin Output Level */
  HAL_GPIO_WritePin(DRV_CS_GPIO_Port, DRV_CS_Pin, GPIO_PIN_SET);

  /*Configure GPIO pin Output Level */
  HAL_GPIO_WritePin(GPIOB, DRV_SCLK_Pin|DRV_SDI_Pin, GPIO_PIN_RESET);

  /*Configure GPIO pin Output Level */
  HAL_GPIO_WritePin(DRV_ENABLE_GPIO_Port, DRV_ENABLE_Pin, GPIO_PIN_RESET);

  /*Configure GPIO pin Output Level */
  HAL_GPIO_WritePin(CAN_LED_GPIO_Port, CAN_LED_Pin, GPIO_PIN_SET);

  /*Configure GPIO pin Output Level */
  HAL_GPIO_WritePin(PROCCESS_LED_GPIO_Port, PROCCESS_LED_Pin, GPIO_PIN_RESET);

  /*Configure GPIO pins : DRV_CS_Pin DRV_SCLK_Pin DRV_SDI_Pin */
  GPIO_InitStruct.Pin = DRV_CS_Pin|DRV_SCLK_Pin|DRV_SDI_Pin;
  GPIO_InitStruct.Mode = GPIO_MODE_OUTPUT_PP;
  GPIO_InitStruct.Pull = GPIO_NOPULL;
  GPIO_InitStruct.Speed = GPIO_SPEED_FREQ_LOW;
  HAL_GPIO_Init(GPIOB, &GPIO_InitStruct);

  /*Configure GPIO pin : DRV_SDO_Pin */
  GPIO_InitStruct.Pin = DRV_SDO_Pin;
  GPIO_InitStruct.Mode = GPIO_MODE_INPUT;
  GPIO_InitStruct.Pull = GPIO_PULLUP;
  HAL_GPIO_Init(DRV_SDO_GPIO_Port, &GPIO_InitStruct);

  /*Configure GPIO pins : DRV_ENABLE_Pin CAN_LED_Pin */
  GPIO_InitStruct.Pin = DRV_ENABLE_Pin|CAN_LED_Pin;
  GPIO_InitStruct.Mode = GPIO_MODE_OUTPUT_PP;
  GPIO_InitStruct.Pull = GPIO_NOPULL;
  GPIO_InitStruct.Speed = GPIO_SPEED_FREQ_LOW;
  HAL_GPIO_Init(GPIOD, &GPIO_InitStruct);

  /*Configure GPIO pin : FAULT_N_Pin */
  GPIO_InitStruct.Pin = FAULT_N_Pin;
  GPIO_InitStruct.Mode = GPIO_MODE_IT_FALLING;
  GPIO_InitStruct.Pull = GPIO_PULLUP;
  HAL_GPIO_Init(FAULT_N_GPIO_Port, &GPIO_InitStruct);

  /*Configure GPIO pin : PROCCESS_LED_Pin */
  GPIO_InitStruct.Pin = PROCCESS_LED_Pin;
  GPIO_InitStruct.Mode = GPIO_MODE_OUTPUT_PP;
  GPIO_InitStruct.Pull = GPIO_NOPULL;
  GPIO_InitStruct.Speed = GPIO_SPEED_FREQ_LOW;
  HAL_GPIO_Init(PROCCESS_LED_GPIO_Port, &GPIO_InitStruct);

  /* EXTI interrupt init*/
  HAL_NVIC_SetPriority(EXTI0_IRQn, 0, 0);
  HAL_NVIC_EnableIRQ(EXTI0_IRQn);

}

__weak void InitTask(void const * argument)
{
  for(;;)
  {
    osDelay(1);
  }
}

void HAL_TIM_PeriodElapsedCallback(TIM_HandleTypeDef *htim)
{
  if (htim->Instance == TIM6)
  {
    HAL_IncTick();
  }
}

void Error_Handler(void)
{
  __disable_irq();
  while (1)
  {
  }
}

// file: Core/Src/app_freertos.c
/* USER CODE BEGIN Header */
/**
  ******************************************************************************
  * File Name          : app_freertos.c
  * Description        : Code for freertos applications
  ******************************************************************************
  * @attention
  *
  * Copyright (c) 2026 STMicroelectronics.
  * All rights reserved.
  *
  * This software is licensed under terms that can be found in the LICENSE file
  * in the root directory of this software component.
  * If no LICENSE file comes with this software, it is provided AS-IS.
  *
  ******************************************************************************
  */
/* USER CODE END Header */

#include "FreeRTOS.h"
#include "task.h"
#include "main.h"

/* USER CODE BEGIN Includes */
#include "Monitor.h"
#include "Supervisor.h"
#include "scrutiny.h"
#include "canopen_app.h"
#include "tusb.h"
/* USER CODE END Includes */

/* USER CODE BEGIN PD */
/* Stack sizes in 32-bit words, not bytes: 512 words = 2 KB */
#define SUPERVISOR_TASK_STACK_WORDS   512
#define CANOPEN_TASK_STACK_WORDS      512
#define MONITOR_TASK_STACK_WORDS      256
#define USB_TASK_STACK_WORDS          512
#define SCRUTINY_TASK_STACK_WORDS     512

/* Higher number = higher priority. initTask is 6 (osPriorityRealtime in the .ioc) */
#define SUPERVISOR_TASK_PRIO          5
#define CANOPEN_TASK_PRIO             4
#define MONITOR_TASK_PRIO             3
#define USB_TASK_PRIO                 2
#define SCRUTINY_TASK_PRIO            1
/* USER CODE END PD */

/* USER CODE BEGIN Variables */
extern TIM_HandleTypeDef htim8;

static StackType_t supervisor_task_stack[SUPERVISOR_TASK_STACK_WORDS];
static StackType_t canopen_task_stack[CANOPEN_TASK_STACK_WORDS];
static StackType_t monitor_task_stack[MONITOR_TASK_STACK_WORDS];
static StackType_t usb_task_stack[USB_TASK_STACK_WORDS];
static StackType_t scrutiny_task_stack[SCRUTINY_TASK_STACK_WORDS];

static StaticTask_t supervisor_task_tcb;
static StaticTask_t canopen_task_tcb;
static StaticTask_t monitor_task_tcb;
static StaticTask_t usb_task_tcb;
static StaticTask_t scrutiny_task_tcb;
/* USER CODE END Variables */

/* USER CODE BEGIN FunctionPrototypes */
static void supervisor_task(void *argument);
static void canopen_task(void *argument);
static void monitor_task(void *argument);
static void usb_task(void *argument);
static void scrutiny_task(void *argument);
/* USER CODE END FunctionPrototypes */

/* GetIdleTaskMemory prototype (linked to static allocation support) */
void vApplicationGetIdleTaskMemory( StaticTask_t **ppxIdleTaskTCBBuffer, StackType_t **ppxIdleTaskStackBuffer, uint32_t *pulIdleTaskStackSize );

/* Hook prototypes */
void vApplicationStackOverflowHook(xTaskHandle xTask, signed char *pcTaskName);

/* USER CODE BEGIN 4 */
void vApplicationStackOverflowHook(xTaskHandle xTask, signed char *pcTaskName)
{
  RtosFatalError();
}
/* USER CODE END 4 */

/* USER CODE BEGIN GET_IDLE_TASK_MEMORY */
static StaticTask_t xIdleTaskTCBBuffer;
static StackType_t xIdleStack[configMINIMAL_STACK_SIZE];

void vApplicationGetIdleTaskMemory( StaticTask_t **ppxIdleTaskTCBBuffer, StackType_t **ppxIdleTaskStackBuffer, uint32_t *pulIdleTaskStackSize )
{
  *ppxIdleTaskTCBBuffer = &xIdleTaskTCBBuffer;
  *ppxIdleTaskStackBuffer = &xIdleStack[0];
  *pulIdleTaskStackSize = configMINIMAL_STACK_SIZE;
  /* place for user code */
}
/* USER CODE END GET_IDLE_TASK_MEMORY */

/* USER CODE BEGIN Application */
/* Stack overflow or failed configASSERT. ADC3 and EXTI0 are never masked, so the FOC would
   keep running without its tasks: cut the power stage first. */
void RtosFatalError(void)
{
  __HAL_TIM_MOE_DISABLE_UNCONDITIONALLY(&htim8);
  HAL_GPIO_WritePin(DRV_ENABLE_GPIO_Port, DRV_ENABLE_Pin, GPIO_PIN_RESET);
  Error_Handler();
}

/* Highest priority: the other tasks start only after this one deletes itself */
void InitTask(void const *argument)
{
  ScrutinyInit();
  SupervisorInit();

  xTaskCreateStatic(supervisor_task,
                    "Supervisor",
                    SUPERVISOR_TASK_STACK_WORDS,
                    NULL,
                    SUPERVISOR_TASK_PRIO,
                    supervisor_task_stack,
                    &supervisor_task_tcb);

  xTaskCreateStatic(canopen_task,
                    "CANopen",
                    CANOPEN_TASK_STACK_WORDS,
                    NULL,
                    CANOPEN_TASK_PRIO,
                    canopen_task_stack,
                    &canopen_task_tcb);

  xTaskCreateStatic(monitor_task,
                    "Monitor",
                    MONITOR_TASK_STACK_WORDS,
                    NULL,
                    MONITOR_TASK_PRIO,
                    monitor_task_stack,
                    &monitor_task_tcb);

  xTaskCreateStatic(usb_task,
                    "USB",
                    USB_TASK_STACK_WORDS,
                    NULL,
                    USB_TASK_PRIO,
                    usb_task_stack,
                    &usb_task_tcb);

  xTaskCreateStatic(scrutiny_task,
                    "Scrutiny",
                    SCRUTINY_TASK_STACK_WORDS,
                    NULL,
                    SCRUTINY_TASK_PRIO,
                    scrutiny_task_stack,
                    &scrutiny_task_tcb);

  vTaskDelete(NULL);
}

static void supervisor_task(void *argument)
{
  while (1)
  {
    SupervisorRun();
    alive_supervisor = true;
    vTaskDelay(pdMS_TO_TICKS(1));
  }
}

static void canopen_task(void *argument)
{
  CanopenInit();
  while (1)
  {
    CanopenRun();
    alive_canopen = true;
    vTaskDelay(pdMS_TO_TICKS(1));
  }
}

static void monitor_task(void *argument)
{
  while (1)
  {
    MonitorRun();
    alive_monitor = true;
    vTaskDelay(pdMS_TO_TICKS(10));
  }
}

static void usb_task(void *argument)
{
  const tusb_rhport_init_t dev_init = { .role = TUSB_ROLE_DEVICE, .speed = TUSB_SPEED_FULL };

  MX_USB_PCD_Init();  /* USB clock and NVIC setup from CubeMX */
  if (!tusb_init(0, &dev_init))
  {
    Error_Handler();
  }

  while (1)
  {
    tud_task();  /* sleeps until a USB event arrives */
  }
}

static void scrutiny_task(void *argument)
{
  while (1)
  {
    ScrutinyRun();
    vTaskDelay(pdMS_TO_TICKS(1));
  }
}
/* USER CODE END Application */
